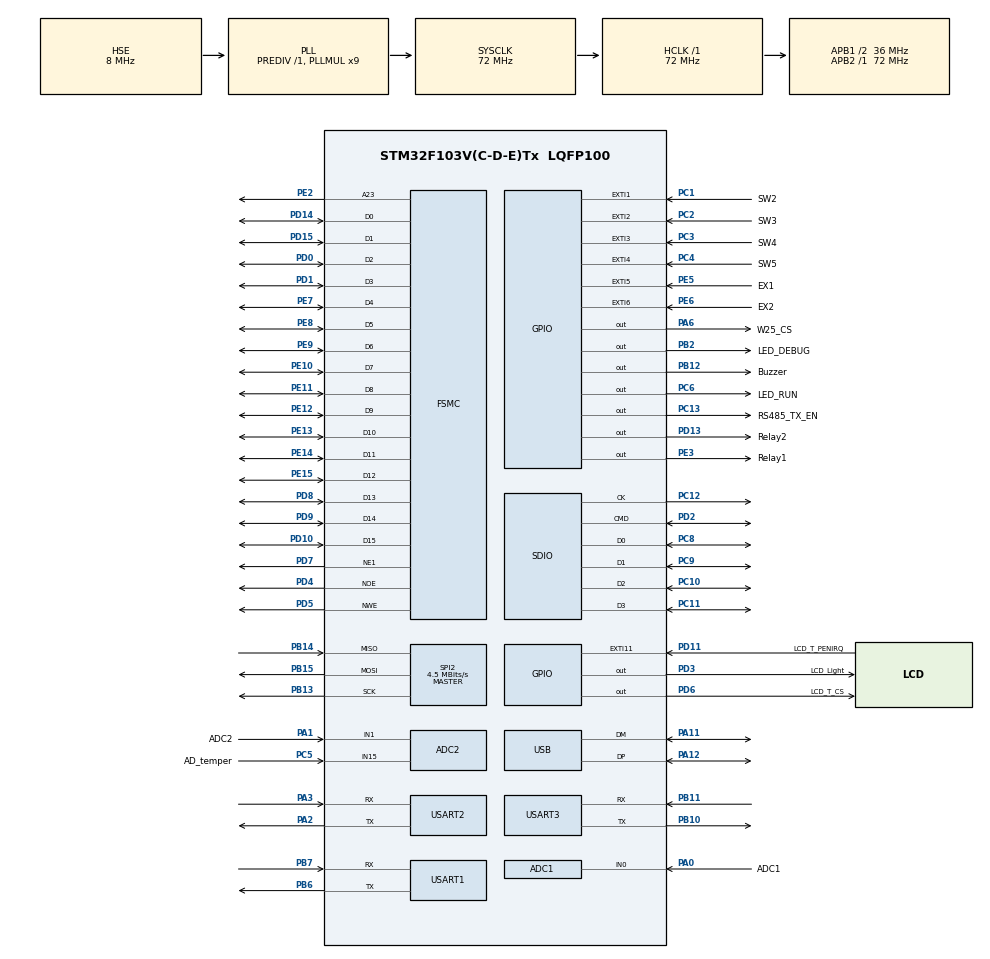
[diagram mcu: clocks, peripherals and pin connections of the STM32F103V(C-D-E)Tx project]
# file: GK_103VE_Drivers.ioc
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ADC1.Channel-0\#ChannelRegularConversion=ADC_CHANNEL_0
ADC1.ContinuousConvMode=DISABLE
ADC1.ExternalTrigConv=ADC_EXTERNALTRIGCONV_T3_TRGO
ADC1.NbrOfConversion=1
ADC1.NbrOfConversionFlag=1
ADC1.Rank-0\#ChannelRegularConversion=1
ADC1.SamplingTime-0\#ChannelRegularConversion=ADC_SAMPLETIME_1CYCLE_5
ADC1.master=1
ADC2.Channel-1\#ChannelRegularConversion=ADC_CHANNEL_1
ADC2.Channel-4\#ChannelRegularConversion=ADC_CHANNEL_15
ADC2.DiscontinuousConvMode=ENABLE
ADC2.NbrOfConversion=2
ADC2.NbrOfConversionFlag=1
ADC2.Rank-1\#ChannelRegularConversion=1
ADC2.Rank-4\#ChannelRegularConversion=2
ADC2.SamplingTime-1\#ChannelRegularConversion=ADC_SAMPLETIME_1CYCLE_5
ADC2.SamplingTime-4\#ChannelRegularConversion=ADC_SAMPLETIME_1CYCLE_5
Dma.ADC1.7.Direction=DMA_PERIPH_TO_MEMORY
Dma.ADC1.7.Instance=DMA1_Channel1
Dma.ADC1.7.MemDataAlignment=DMA_MDATAALIGN_HALFWORD
Dma.ADC1.7.MemInc=DMA_MINC_ENABLE
Dma.ADC1.7.Mode=DMA_CIRCULAR
Dma.ADC1.7.PeriphDataAlignment=DMA_PDATAALIGN_HALFWORD
Dma.ADC1.7.PeriphInc=DMA_PINC_DISABLE
Dma.ADC1.7.Priority=DMA_PRIORITY_LOW
Dma.Request0=USART1_RX
Dma.Request1=USART1_TX
Dma.Request2=SDIO
Dma.Request3=USART3_RX
Dma.Request4=USART3_TX
Dma.Request5=USART2_RX
Dma.Request6=USART2_TX
Dma.Request7=ADC1
Dma.SDIO.2.Direction=DMA_PERIPH_TO_MEMORY
Dma.SDIO.2.Instance=DMA2_Channel4
Dma.SDIO.2.MemDataAlignment=DMA_MDATAALIGN_WORD
Dma.SDIO.2.MemInc=DMA_MINC_ENABLE
Dma.SDIO.2.Mode=DMA_NORMAL
Dma.SDIO.2.PeriphDataAlignment=DMA_PDATAALIGN_WORD
Dma.SDIO.2.PeriphInc=DMA_PINC_DISABLE
Dma.SDIO.2.Priority=DMA_PRIORITY_LOW
Dma.USART1_RX.0.Direction=DMA_PERIPH_TO_MEMORY
Dma.USART1_RX.0.Instance=DMA1_Channel5
Dma.USART1_RX.0.MemDataAlignment=DMA_MDATAALIGN_BYTE
Dma.USART1_RX.0.MemInc=DMA_MINC_ENABLE
Dma.USART1_RX.0.Mode=DMA_NORMAL
Dma.USART1_RX.0.PeriphDataAlignment=DMA_PDATAALIGN_BYTE
Dma.USART1_RX.0.PeriphInc=DMA_PINC_DISABLE
Dma.USART1_RX.0.Priority=DMA_PRIORITY_LOW
Dma.USART1_TX.1.Direction=DMA_MEMORY_TO_PERIPH
Dma.USART1_TX.1.Instance=DMA1_Channel4
Dma.USART1_TX.1.MemDataAlignment=DMA_MDATAALIGN_BYTE
Dma.USART1_TX.1.MemInc=DMA_MINC_ENABLE
Dma.USART1_TX.1.Mode=DMA_NORMAL
Dma.USART1_TX.1.PeriphDataAlignment=DMA_PDATAALIGN_BYTE
Dma.USART1_TX.1.PeriphInc=DMA_PINC_DISABLE
Dma.USART1_TX.1.Priority=DMA_PRIORITY_LOW
Dma.USART2_RX.5.Direction=DMA_PERIPH_TO_MEMORY
Dma.USART2_RX.5.Instance=DMA1_Channel6
Dma.USART2_RX.5.MemDataAlignment=DMA_MDATAALIGN_BYTE
Dma.USART2_RX.5.MemInc=DMA_MINC_ENABLE
Dma.USART2_RX.5.Mode=DMA_NORMAL
Dma.USART2_RX.5.PeriphDataAlignment=DMA_PDATAALIGN_BYTE
Dma.USART2_RX.5.PeriphInc=DMA_PINC_DISABLE
Dma.USART2_RX.5.Priority=DMA_PRIORITY_LOW
Dma.USART2_TX.6.Direction=DMA_MEMORY_TO_PERIPH
Dma.USART2_TX.6.Instance=DMA1_Channel7
Dma.USART2_TX.6.MemDataAlignment=DMA_MDATAALIGN_BYTE
Dma.USART2_TX.6.MemInc=DMA_MINC_ENABLE
Dma.USART2_TX.6.Mode=DMA_NORMAL
Dma.USART2_TX.6.PeriphDataAlignment=DMA_PDATAALIGN_BYTE
Dma.USART2_TX.6.PeriphInc=DMA_PINC_DISABLE
Dma.USART2_TX.6.Priority=DMA_PRIORITY_LOW
Dma.USART3_RX.3.Direction=DMA_PERIPH_TO_MEMORY
Dma.USART3_RX.3.Instance=DMA1_Channel3
Dma.USART3_RX.3.MemDataAlignment=DMA_MDATAALIGN_BYTE
Dma.USART3_RX.3.MemInc=DMA_MINC_ENABLE
Dma.USART3_RX.3.Mode=DMA_NORMAL
Dma.USART3_RX.3.PeriphDataAlignment=DMA_PDATAALIGN_BYTE
Dma.USART3_RX.3.PeriphInc=DMA_PINC_DISABLE
Dma.USART3_RX.3.Priority=DMA_PRIORITY_LOW
Dma.USART3_TX.4.Direction=DMA_MEMORY_TO_PERIPH
Dma.USART3_TX.4.Instance=DMA1_Channel2
Dma.USART3_TX.4.MemDataAlignment=DMA_MDATAALIGN_BYTE
Dma.USART3_TX.4.MemInc=DMA_MINC_ENABLE
Dma.USART3_TX.4.Mode=DMA_NORMAL
Dma.USART3_TX.4.PeriphDataAlignment=DMA_PDATAALIGN_BYTE
Dma.USART3_TX.4.PeriphInc=DMA_PINC_DISABLE
Dma.USART3_TX.4.Priority=DMA_PRIORITY_LOW
FATFS._CODE_PAGE=437
FATFS._USE_LABEL=1
FATFS._USE_LFN=2
FREERTOS.Queues01=UART_Receiver_Msg,5,void *,0,Dynamic,NULL,NULL
FREERTOS.Tasks01=WS_FreeTh_Borad,2,3072,WS_FreeThread_Borad,As weak,NULL,Dynamic,NULL,NULL;WS_FreeTh_WSOS,1,512,WS_FreeThread_WSOS,As weak,NULL,Dynamic,NULL,NULL;WS_FreeTh_UR,3,256,WS_FreeThread_UART_Receiver,As weak,NULL,Dynamic,NULL,NULL;WS_FreeTask_use,-3,512,WS_FreeTask_userTask_Fun,As weak,NULL,Dynamic,NULL,NULL
FREERTOS.configMINIMAL_STACK_SIZE=64
FREERTOS.configTOTAL_HEAP_SIZE=20480
FSMC.AddressSetupTime1=0
FSMC.BusTurnAroundDuration1=0
FSMC.DataSetupTime1=1
Mcu.Family=STM32F1
Mcu.Name=STM32F103V(C-D-E)Tx
Mcu.Package=LQFP100
NVIC.ADC1_2_IRQn=true\:5\:0\:false\:false\:true\:true\:true\:true
NVIC.DMA1_Channel1_IRQn=true\:5\:0\:false\:false\:true\:true\:false\:true
NVIC.DMA1_Channel2_IRQn=true\:5\:0\:false\:false\:true\:true\:false\:true
NVIC.DMA1_Channel3_IRQn=true\:5\:0\:false\:false\:true\:true\:false\:true
NVIC.DMA1_Channel4_IRQn=true\:5\:0\:false\:false\:true\:true\:false\:true
NVIC.DMA1_Channel5_IRQn=true\:5\:0\:false\:false\:true\:true\:false\:true
NVIC.DMA1_Channel6_IRQn=true\:5\:0\:false\:false\:true\:true\:false\:true
NVIC.DMA1_Channel7_IRQn=true\:5\:0\:false\:false\:true\:true\:false\:true
NVIC.DMA2_Channel4_5_IRQn=true\:5\:0\:true\:false\:true\:false\:false\:true
NVIC.EXTI15_10_IRQn=true\:5\:0\:false\:false\:true\:true\:true\:true
NVIC.EXTI1_IRQn=true\:5\:0\:true\:false\:true\:false\:true\:true
NVIC.EXTI2_IRQn=true\:5\:0\:true\:false\:true\:false\:true\:true
NVIC.EXTI3_IRQn=true\:5\:0\:true\:false\:true\:false\:true\:true
NVIC.EXTI4_IRQn=true\:5\:0\:true\:false\:true\:false\:true\:true
NVIC.EXTI9_5_IRQn=true\:5\:0\:false\:false\:true\:true\:true\:true
NVIC.PriorityGroup=NVIC_PRIORITYGROUP_4
NVIC.RTC_IRQn=true\:5\:0\:false\:false\:true\:true\:true\:true
NVIC.SDIO_IRQn=true\:5\:0\:false\:false\:true\:true\:true\:true
NVIC.TIM3_IRQn=true\:8\:0\:true\:false\:true\:true\:true\:true
NVIC.TIM5_IRQn=true\:5\:0\:true\:false\:true\:false\:true\:true
NVIC.TIM7_IRQn=true\:5\:0\:false\:false\:true\:true\:true\:true
NVIC.TIM8_UP_IRQn=true\:15\:0\:false\:false\:true\:false\:false\:true
NVIC.TimeBase=TIM8_UP_IRQn
NVIC.TimeBaseIP=TIM8
NVIC.USART1_IRQn=true\:5\:0\:true\:false\:true\:false\:true\:true
NVIC.USART2_IRQn=true\:5\:0\:false\:false\:true\:true\:true\:true
NVIC.USART3_IRQn=true\:5\:0\:false\:false\:true\:true\:true\:true
NVIC.USB_HP_CAN1_TX_IRQn=true\:5\:0\:true\:false\:true\:false\:true\:true
NVIC.USB_LP_CAN1_RX0_IRQn=true\:5\:0\:true\:false\:true\:false\:true\:true
OSC_IN.Mode=HSE-External-Oscillator
OSC_IN.Signal=RCC_OSC_IN
OSC_OUT.Mode=HSE-External-Oscillator
OSC_OUT.Signal=RCC_OSC_OUT
PA0-WKUP.GPIO_Label=ADC1
PA0-WKUP.Signal=ADCx_IN0
PA1.GPIO_Label=ADC2
PA1.Signal=ADCx_IN1
PA11.Mode=Device
PA11.Signal=USB_DM
PA12.Mode=Device
PA12.Signal=USB_DP
PA13.Mode=JTAG_5_pins
PA13.Signal=SYS_JTMS-SWDIO
PA14.Mode=JTAG_5_pins
PA14.Signal=SYS_JTCK-SWCLK
PA15.Mode=JTAG_5_pins
PA15.Signal=SYS_JTDI
PA2.Mode=Asynchronous
PA2.Signal=USART2_TX
PA3.Mode=Asynchronous
PA3.Signal=USART2_RX
PA6.GPIO_Label=W25_CS
PA6.GPIO_Speed=GPIO_SPEED_FREQ_HIGH
PA6.PinState=GPIO_PIN_SET
PA6.Signal=GPIO_Output
PB10.Mode=Asynchronous
PB10.Signal=USART3_TX
PB11.Mode=Asynchronous
PB11.Signal=USART3_RX
PB12.GPIO_Label=Buzzer
PB12.GPIO_ModeDefaultOutputPP=GPIO_MODE_OUTPUT_OD
PB12.PinState=GPIO_PIN_SET
PB12.Signal=GPIO_Output
PB13.Mode=Full_Duplex_Master
PB13.Signal=SPI2_SCK
PB14.Mode=Full_Duplex_Master
PB14.Signal=SPI2_MISO
PB15.Mode=Full_Duplex_Master
PB15.Signal=SPI2_MOSI
PB2.GPIO_Label=LED_DEBUG
PB2.PinState=GPIO_PIN_SET
PB2.Signal=GPIO_Output
PB3.Mode=JTAG_5_pins
PB3.Signal=SYS_JTDO-TRACESWO
PB4.Mode=JTAG_5_pins
PB4.Signal=SYS_NJTRST
PB6.Mode=Asynchronous
PB6.Signal=USART1_TX
PB7.Mode=Asynchronous
PB7.Signal=USART1_RX
PC1.GPIO_Label=SW2
PC1.GPIO_ModeDefaultEXTI=GPIO_MODE_IT_RISING_FALLING
PC1.GPIO_PuPd=GPIO_PULLUP
PC1.Signal=GPXTI1
PC10.Mode=SD_4_bits_Wide_bus
PC10.Signal=SDIO_D2
PC11.Mode=SD_4_bits_Wide_bus
PC11.Signal=SDIO_D3
PC12.Mode=SD_4_bits_Wide_bus
PC12.Signal=SDIO_CK
PC13-TAMPER-RTC.GPIO_Label=RS485_TX_EN
PC13-TAMPER-RTC.GPIO_Speed=GPIO_SPEED_FREQ_HIGH
PC13-TAMPER-RTC.PinState=GPIO_PIN_RESET
PC13-TAMPER-RTC.Signal=GPIO_Output
PC14-OSC32_IN.Mode=LSE-External-Oscillator
PC14-OSC32_IN.Signal=RCC_OSC32_IN
PC15-OSC32_OUT.Mode=LSE-External-Oscillator
PC15-OSC32_OUT.Signal=RCC_OSC32_OUT
PC2.GPIO_Label=SW3
PC2.GPIO_ModeDefaultEXTI=GPIO_MODE_IT_RISING_FALLING
PC2.GPIO_PuPd=GPIO_PULLUP
PC2.Signal=GPXTI2
PC3.GPIO_Label=SW4
PC3.GPIO_ModeDefaultEXTI=GPIO_MODE_IT_RISING_FALLING
PC3.GPIO_PuPd=GPIO_PULLUP
PC3.Signal=GPXTI3
PC4.GPIO_Label=SW5
PC4.GPIO_ModeDefaultEXTI=GPIO_MODE_IT_RISING_FALLING
PC4.GPIO_PuPd=GPIO_PULLUP
PC4.Signal=GPXTI4
PC5.GPIO_Label=AD_temper
PC5.Signal=ADCx_IN15
PC6.GPIO_Label=LED_RUN
PC6.PinState=GPIO_PIN_SET
PC6.Signal=GPIO_Output
PC8.Mode=SD_4_bits_Wide_bus
PC8.Signal=SDIO_D0
PC9.Mode=SD_4_bits_Wide_bus
PC9.Signal=SDIO_D1
PD0.Mode=16b-d1
PD0.Signal=FSMC_D2
PD1.Mode=16b-d1
PD1.Signal=FSMC_D3
PD10.Mode=16b-d1
PD10.Signal=FSMC_D15
PD11.GPIO_Label=LCD_T_PENIRQ
PD11.GPIO_ModeDefaultEXTI=GPIO_MODE_IT_FALLING
PD11.GPIO_PuPd=GPIO_PULLUP
PD11.Signal=GPXTI11
PD13.GPIO_Label=Relay2
PD13.GPIO_ModeDefaultOutputPP=GPIO_MODE_OUTPUT_OD
PD13.GPIO_PuPd=GPIO_NOPULL
PD13.GPIO_Speed=GPIO_SPEED_FREQ_HIGH
PD13.PinState=GPIO_PIN_RESET
PD13.Signal=GPIO_Output
PD14.Mode=16b-d1
PD14.Signal=FSMC_D0
PD15.Mode=16b-d1
PD15.Signal=FSMC_D1
PD2.Mode=SD_4_bits_Wide_bus
PD2.Signal=SDIO_CMD
PD3.GPIO_Label=LCD_Light
PD3.GPIO_Speed=GPIO_SPEED_FREQ_HIGH
PD3.PinState=GPIO_PIN_SET
PD3.Signal=GPIO_Output
PD4.Mode=Lcd1
PD4.Signal=FSMC_NOE
PD5.Mode=Lcd1
PD5.Signal=FSMC_NWE
PD6.GPIO_Label=LCD_T_CS
PD6.GPIO_Speed=GPIO_SPEED_FREQ_HIGH
PD6.PinState=GPIO_PIN_SET
PD6.Signal=GPIO_Output
PD7.Mode=NorPsramChipSelect1_1
PD7.Signal=FSMC_NE1
PD8.Mode=16b-d1
PD8.Signal=FSMC_D13
PD9.Mode=16b-d1
PD9.Signal=FSMC_D14
PE10.Mode=16b-d1
PE10.Signal=FSMC_D7
PE11.Mode=16b-d1
PE11.Signal=FSMC_D8
PE12.Mode=16b-d1
PE12.Signal=FSMC_D9
PE13.Mode=16b-d1
PE13.Signal=FSMC_D10
PE14.Mode=16b-d1
PE14.Signal=FSMC_D11
PE15.Mode=16b-d1
PE15.Signal=FSMC_D12
PE2.Mode=A23_1
PE2.Signal=FSMC_A23
PE3.GPIO_Label=Relay1
PE3.GPIO_ModeDefaultOutputPP=GPIO_MODE_OUTPUT_OD
PE3.GPIO_PuPd=GPIO_NOPULL
PE3.GPIO_Speed=GPIO_SPEED_FREQ_HIGH
PE3.PinState=GPIO_PIN_RESET
PE3.Signal=GPIO_Output
PE5.GPIO_Label=EX1
PE5.GPIO_ModeDefaultEXTI=GPIO_MODE_IT_RISING_FALLING
PE5.GPIO_PuPd=GPIO_NOPULL
PE5.Signal=GPXTI5
PE6.GPIO_Label=EX2
PE6.GPIO_ModeDefaultEXTI=GPIO_MODE_IT_RISING_FALLING
PE6.GPIO_PuPd=GPIO_NOPULL
PE6.Signal=GPXTI6
PE7.Mode=16b-d1
PE7.Signal=FSMC_D4
PE8.Mode=16b-d1
PE8.Signal=FSMC_D5
PE9.Mode=16b-d1
PE9.Signal=FSMC_D6
ProjectManager.HeapSize=0x1000
ProjectManager.StackSize=0x1000
ProjectManager.TargetToolchain=MDK-ARM V5
RCC.ADCPresc=RCC_ADCPCLK2_DIV6
RCC.AHBFreq_Value=72000000
RCC.APB1CLKDivider=RCC_HCLK_DIV2
RCC.APB1Freq_Value=36000000
RCC.APB1TimFreq_Value=72000000
RCC.APB2Freq_Value=72000000
RCC.APB2TimFreq_Value=72000000
RCC.HCLKFreq_Value=72000000
RCC.PLLMUL=RCC_PLL_MUL9
RCC.PLLSourceVirtual=RCC_PLLSOURCE_HSE
RCC.RTCClockSelection=RCC_RTCCLKSOURCE_LSE
RCC.SYSCLKFreq_VALUE=72000000
RCC.SYSCLKSource=RCC_SYSCLKSOURCE_PLLCLK
RCC.USBFreq_Value=48000000
RCC.USBPrescaler=RCC_USBCLKSOURCE_PLL_DIV1_5
RTC.Format=RTC_FORMAT_BIN
RTC.Hours=23
RTC.Minutes=59
RTC.Month=RTC_MONTH_JULY
RTC.Seconds=55
RTC.WeekDay=RTC_WEEKDAY_THURSDAY
RTC.Year=21
SDIO.ClockDiv=5
SDIO.HardwareFlowControl=SDIO_HARDWARE_FLOW_CONTROL_ENABLE
SH.ADCx_IN0.0=ADC1_IN0,IN0
SH.ADCx_IN1.0=ADC2_IN1,IN1
SH.ADCx_IN15.0=ADC2_IN15,IN15
SPI2.BaudRatePrescaler=SPI_BAUDRATEPRESCALER_8
SPI2.CalculateBaudRate=4.5 MBits/s
SPI2.Direction=SPI_DIRECTION_2LINES
SPI2.Mode=SPI_MODE_MASTER
SPI2.VirtualType=VM_MASTER
TIM3.AutoReloadPreload=TIM_AUTORELOAD_PRELOAD_ENABLE
TIM3.Period=10-1
TIM3.Prescaler=8-1
TIM3.TIM_MasterOutputTrigger=TIM_TRGO_UPDATE
TIM3.TIM_MasterSlaveMode=TIM_MASTERSLAVEMODE_DISABLE
TIM5.Period=65535
TIM5.Prescaler=71
TIM7.Period=10000-1
TIM7.Prescaler=71
USART1.VirtualMode=VM_ASYNC
USART2.VirtualMode=VM_ASYNC
USART3.VirtualMode=VM_ASYNC
USB_DEVICE.CLASS_NAME_FS=MSC
USB_DEVICE.MSC_MEDIA_PACKET=4096
USB_DEVICE.USBD_MAX_NUM_CONFIGURATION=1
USB_DEVICE.USBD_MAX_NUM_INTERFACES=1
USB_DEVICE.USBD_MAX_STR_DESC_SIZ=512
USB_DEVICE.VirtualMode=Msc
USB_DEVICE.VirtualModeFS=Msc_FS
VP_FATFS_VS_Generic.Mode=User_defined
VP_FATFS_VS_SDIO.Mode=SDIO
VP_FREERTOS_VS_CMSIS_V1.Mode=CMSIS_V1
VP_RTC_No_RTC_Output.Mode=RTC_OUT_NO
VP_RTC_VS_RTC_Activate.Mode=RTC_Enabled
VP_RTC_VS_RTC_Calendar.Mode=RTC_Calendar
VP_SYS_VS_tim8.Mode=TIM8
VP_TIM3_VS_ClockSourceINT.Mode=Internal
VP_TIM5_VS_ClockSourceINT.Mode=Internal
VP_TIM7_VS_ClockSourceINT.Mode=Enable_Timer
VP_USB_DEVICE_VS_USB_DEVICE_MSC_FS.Mode=MSC_FS
board=custom

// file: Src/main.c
/* USER CODE BEGIN Header */
/**
  ******************************************************************************
  * @file           : main.c
  * @brief          : Main program body
  ******************************************************************************
  * @attention
  *
  * <h2><center>&copy; Copyright (c) 2020 STMicroelectronics.
  * All rights reserved.</center></h2>
  *
  * This software component is licensed by ST under Ultimate Liberty license
  * SLA0044, the "License"; You may not use this file except in compliance with
  * the License. You may obtain a copy of the License at:
  *                             www.st.com/SLA0044
  *
  ******************************************************************************
  */
/* USER CODE END Header */
#include "main.h"
#include "cmsis_os.h"
#include "fatfs.h"
#include "usb_device.h"
#include "usb_device.h"

/* USER CODE BEGIN Includes */

#include "ws_capture.h"

/* USER CODE END Includes */

ADC_HandleTypeDef hadc1;
ADC_HandleTypeDef hadc2;
DMA_HandleTypeDef hdma_adc1;

RTC_HandleTypeDef hrtc;

SD_HandleTypeDef hsd;
DMA_HandleTypeDef hdma_sdio;

SPI_HandleTypeDef hspi2;

TIM_HandleTypeDef htim3;
TIM_HandleTypeDef htim5;
TIM_HandleTypeDef htim7;

UART_HandleTypeDef huart1;
UART_HandleTypeDef huart2;
UART_HandleTypeDef huart3;
DMA_HandleTypeDef hdma_usart1_rx;
DMA_HandleTypeDef hdma_usart1_tx;
DMA_HandleTypeDef hdma_usart2_rx;
DMA_HandleTypeDef hdma_usart2_tx;
DMA_HandleTypeDef hdma_usart3_rx;
DMA_HandleTypeDef hdma_usart3_tx;

SRAM_HandleTypeDef hsram1;

osThreadId WS_FreeTh_BoradHandle;
osThreadId WS_FreeTh_WSOSHandle;
osThreadId WS_FreeTh_URHandle;
osThreadId WS_FreeTask_useHandle;
osMessageQId UART_Receiver_MsgHandle;

void SystemClock_Config(void);
static void MX_GPIO_Init(void);
static void MX_DMA_Init(void);
static void MX_FSMC_Init(void);
static void MX_SPI2_Init(void);
static void MX_TIM5_Init(void);
static void MX_USART1_UART_Init(void);
static void MX_SDIO_SD_Init(void);
static void MX_USART3_UART_Init(void);
static void MX_USART2_UART_Init(void);
static void MX_RTC_Init(void);
static void MX_ADC1_Init(void);
static void MX_ADC2_Init(void);
static void MX_TIM7_Init(void);
static void MX_TIM3_Init(void);
void WS_FreeThread_Borad(void const * argument);
void WS_FreeThread_WSOS(void const * argument);
void WS_FreeThread_UART_Receiver(void const * argument);
void WS_FreeTask_userTask_Fun(void const * argument);

int main(void)
{

  /* MCU Configuration--------------------------------------------------------*/

  /* Reset of all peripherals, Initializes the Flash interface and the Systick. */
  HAL_Init();

  /* Configure the system clock */
  SystemClock_Config();

  /* Initialize all configured peripherals */
  MX_GPIO_Init();
  MX_DMA_Init();
  MX_FSMC_Init();
  MX_SPI2_Init();
  MX_TIM5_Init();
  MX_USART1_UART_Init();
  MX_SDIO_SD_Init();
  MX_FATFS_Init();
  MX_USART3_UART_Init();
  MX_USART2_UART_Init();
  MX_RTC_Init();
  MX_ADC1_Init();
  MX_ADC2_Init();
  MX_TIM7_Init();
  MX_TIM3_Init();

  /* Create the queue(s) */
  /* definition and creation of UART_Receiver_Msg */
  osMessageQDef(UART_Receiver_Msg, 5, void *);
  UART_Receiver_MsgHandle = osMessageCreate(osMessageQ(UART_Receiver_Msg), NULL);

  /* Create the thread(s) */
  /* definition and creation of WS_FreeTh_Borad */
  osThreadDef(WS_FreeTh_Borad, WS_FreeThread_Borad, osPriorityHigh, 0, 3072);
  WS_FreeTh_BoradHandle = osThreadCreate(osThread(WS_FreeTh_Borad), NULL);

  /* definition and creation of WS_FreeTh_WSOS */
  osThreadDef(WS_FreeTh_WSOS, WS_FreeThread_WSOS, osPriorityAboveNormal, 0, 512);
  WS_FreeTh_WSOSHandle = osThreadCreate(osThread(WS_FreeTh_WSOS), NULL);

  /* definition and creation of WS_FreeTh_UR */
  osThreadDef(WS_FreeTh_UR, WS_FreeThread_UART_Receiver, osPriorityRealtime, 0, 256);
  WS_FreeTh_URHandle = osThreadCreate(osThread(WS_FreeTh_UR), NULL);

  /* definition and creation of WS_FreeTask_use */
  osThreadDef(WS_FreeTask_use, WS_FreeTask_userTask_Fun, osPriorityIdle, 0, 512);
  WS_FreeTask_useHandle = osThreadCreate(osThread(WS_FreeTask_use), NULL);

  /* Start scheduler */
  osKernelStart();

  /* We should never get here as control is now taken by the scheduler */
  /* Infinite loop */
  while (1)
  {

  }
}

void SystemClock_Config(void)
{
  RCC_OscInitTypeDef RCC_OscInitStruct = {0};
  RCC_ClkInitTypeDef RCC_ClkInitStruct = {0};
  RCC_PeriphCLKInitTypeDef PeriphClkInit = {0};

  /** Initializes the RCC Oscillators according to the specified parameters
  * in the RCC_OscInitTypeDef structure.
  */
  RCC_OscInitStruct.OscillatorType = RCC_OSCILLATORTYPE_HSE|RCC_OSCILLATORTYPE_LSE;
  RCC_OscInitStruct.HSEState = RCC_HSE_ON;
  RCC_OscInitStruct.HSEPredivValue = RCC_HSE_PREDIV_DIV1;
  RCC_OscInitStruct.LSEState = RCC_LSE_ON;
  RCC_OscInitStruct.HSIState = RCC_HSI_ON;
  RCC_OscInitStruct.PLL.PLLState = RCC_PLL_ON;
  RCC_OscInitStruct.PLL.PLLSource = RCC_PLLSOURCE_HSE;
  RCC_OscInitStruct.PLL.PLLMUL = RCC_PLL_MUL9;
  if (HAL_RCC_OscConfig(&RCC_OscInitStruct) != HAL_OK)
  {
    Error_Handler();
  }
  /** Initializes the CPU, AHB and APB buses clocks
  */
  RCC_ClkInitStruct.ClockType = RCC_CLOCKTYPE_HCLK|RCC_CLOCKTYPE_SYSCLK
                              |RCC_CLOCKTYPE_PCLK1|RCC_CLOCKTYPE_PCLK2;
  RCC_ClkInitStruct.SYSCLKSource = RCC_SYSCLKSOURCE_PLLCLK;
  RCC_ClkInitStruct.AHBCLKDivider = RCC_SYSCLK_DIV1;
  RCC_ClkInitStruct.APB1CLKDivider = RCC_HCLK_DIV2;
  RCC_ClkInitStruct.APB2CLKDivider = RCC_HCLK_DIV1;

  if (HAL_RCC_ClockConfig(&RCC_ClkInitStruct, FLASH_LATENCY_2) != HAL_OK)
  {
    Error_Handler();
  }
  PeriphClkInit.PeriphClockSelection = RCC_PERIPHCLK_RTC|RCC_PERIPHCLK_ADC
                              |RCC_PERIPHCLK_USB;
  PeriphClkInit.RTCClockSelection = RCC_RTCCLKSOURCE_LSE;
  PeriphClkInit.AdcClockSelection = RCC_ADCPCLK2_DIV6;
  PeriphClkInit.UsbClockSelection = RCC_USBCLKSOURCE_PLL_DIV1_5;
  if (HAL_RCCEx_PeriphCLKConfig(&PeriphClkInit) != HAL_OK)
  {
    Error_Handler();
  }
}

static void MX_ADC1_Init(void)
{

  ADC_ChannelConfTypeDef sConfig = {0};

  /** Common config
  */
  hadc1.Instance = ADC1;
  hadc1.Init.ScanConvMode = ADC_SCAN_DISABLE;
  hadc1.Init.ContinuousConvMode = DISABLE;
  hadc1.Init.DiscontinuousConvMode = DISABLE;
  hadc1.Init.ExternalTrigConv = ADC_EXTERNALTRIGCONV_T3_TRGO;
  hadc1.Init.DataAlign = ADC_DATAALIGN_RIGHT;
  hadc1.Init.NbrOfConversion = 1;
  if (HAL_ADC_Init(&hadc1) != HAL_OK)
  {
    Error_Handler();
  }
  /** Configure Regular Channel
  */
  sConfig.Channel = ADC_CHANNEL_0;
  sConfig.Rank = ADC_REGULAR_RANK_1;
  sConfig.SamplingTime = ADC_SAMPLETIME_1CYCLE_5;
  if (HAL_ADC_ConfigChannel(&hadc1, &sConfig) != HAL_OK)
  {
    Error_Handler();
  }

}

static void MX_ADC2_Init(void)
{

  ADC_ChannelConfTypeDef sConfig = {0};

  /** Common config
  */
  hadc2.Instance = ADC2;
  hadc2.Init.ScanConvMode = ADC_SCAN_ENABLE;
  hadc2.Init.ContinuousConvMode = DISABLE;
  hadc2.Init.DiscontinuousConvMode = ENABLE;
  hadc2.Init.NbrOfDiscConversion = 1;
  hadc2.Init.ExternalTrigConv = ADC_SOFTWARE_START;
  hadc2.Init.DataAlign = ADC_DATAALIGN_RIGHT;
  hadc2.Init.NbrOfConversion = 2;
  if (HAL_ADC_Init(&hadc2) != HAL_OK)
  {
    Error_Handler();
  }
  /** Configure Regular Channel
  */
  sConfig.Channel = ADC_CHANNEL_1;
  sConfig.Rank = ADC_REGULAR_RANK_1;
  sConfig.SamplingTime = ADC_SAMPLETIME_1CYCLE_5;
  if (HAL_ADC_ConfigChannel(&hadc2, &sConfig) != HAL_OK)
  {
    Error_Handler();
  }
  /** Configure Regular Channel
  */
  sConfig.Channel = ADC_CHANNEL_15;
  sConfig.Rank = ADC_REGULAR_RANK_2;
  if (HAL_ADC_ConfigChannel(&hadc2, &sConfig) != HAL_OK)
  {
    Error_Handler();
  }

}

static void MX_RTC_Init(void)
{

  RTC_TimeTypeDef sTime = {0};
  RTC_DateTypeDef DateToUpdate = {0};

  /** Initialize RTC Only
  */
  hrtc.Instance = RTC;
  hrtc.Init.AsynchPrediv = RTC_AUTO_1_SECOND;
  hrtc.Init.OutPut = RTC_OUTPUTSOURCE_NONE;
  if (HAL_RTC_Init(&hrtc) != HAL_OK)
  {
    Error_Handler();
  }

  /* USER CODE BEGIN Check_RTC_BKUP */

	  //  检测是否需要初始化时间
		if(HAL_RTCEx_BKUPRead(&hrtc,RTC_BKP_DR1) ==  0XC3)
		{
			 //  还原日历
			 //  第一步：从备份寄存器还原保存的年月日；
			 hrtc.DateToUpdate.Year = HAL_RTCEx_BKUPRead(&hrtc,RTC_BKP_DR2);
			 hrtc.DateToUpdate.Month = HAL_RTCEx_BKUPRead(&hrtc,RTC_BKP_DR3);
			 hrtc.DateToUpdate.Date = HAL_RTCEx_BKUPRead(&hrtc,RTC_BKP_DR4);
			//   星期必须是计数大于等于24小时才会触发跟新星期，选择备份星期
			 hrtc.DateToUpdate.WeekDay =HAL_RTCEx_BKUPRead(&hrtc,RTC_BKP_DR5);

			 //  第二步：读取时间，函数内部根据掉电后的计数值更新日历
			 HAL_RTC_GetTime(&hrtc , &sTime , RTC_FORMAT_BIN) ;
			 return  ;
		}

  /* USER CODE END Check_RTC_BKUP */

  /** Initialize RTC and set the Time and Date
  */
  sTime.Hours = 23;
  sTime.Minutes = 59;
  sTime.Seconds = 55;

  if (HAL_RTC_SetTime(&hrtc, &sTime, RTC_FORMAT_BIN) != HAL_OK)
  {
    Error_Handler();
  }
  DateToUpdate.WeekDay = RTC_WEEKDAY_THURSDAY;
  DateToUpdate.Month = RTC_MONTH_JULY;
  DateToUpdate.Date = 1;
  DateToUpdate.Year = 21;

  if (HAL_RTC_SetDate(&hrtc, &DateToUpdate, RTC_FORMAT_BIN) != HAL_OK)
  {
    Error_Handler();
  }
  /* USER CODE BEGIN RTC_Init 2 */

	HAL_RTCEx_BKUPWrite(&hrtc,RTC_BKP_DR1,0xc3);//  写入初始化标志

  /* USER CODE END RTC_Init 2 */

}

static void MX_SDIO_SD_Init(void)
{

  hsd.Instance = SDIO;
  hsd.Init.ClockEdge = SDIO_CLOCK_EDGE_RISING;
  hsd.Init.ClockBypass = SDIO_CLOCK_BYPASS_DISABLE;
  hsd.Init.ClockPowerSave = SDIO_CLOCK_POWER_SAVE_DISABLE;
  hsd.Init.BusWide = SDIO_BUS_WIDE_1B;
  hsd.Init.HardwareFlowControl = SDIO_HARDWARE_FLOW_CONTROL_ENABLE;
  hsd.Init.ClockDiv = 5;

}

static void MX_SPI2_Init(void)
{

  /* SPI2 parameter configuration*/
  hspi2.Instance = SPI2;
  hspi2.Init.Mode = SPI_MODE_MASTER;
  hspi2.Init.Direction = SPI_DIRECTION_2LINES;
  hspi2.Init.DataSize = SPI_DATASIZE_8BIT;
  hspi2.Init.CLKPolarity = SPI_POLARITY_LOW;
  hspi2.Init.CLKPhase = SPI_PHASE_1EDGE;
  hspi2.Init.NSS = SPI_NSS_SOFT;
  hspi2.Init.BaudRatePrescaler = SPI_BAUDRATEPRESCALER_8;
  hspi2.Init.FirstBit = SPI_FIRSTBIT_MSB;
  hspi2.Init.TIMode = SPI_TIMODE_DISABLE;
  hspi2.Init.CRCCalculation = SPI_CRCCALCULATION_DISABLE;
  hspi2.Init.CRCPolynomial = 10;
  if (HAL_SPI_Init(&hspi2) != HAL_OK)
  {
    Error_Handler();
  }

}

static void MX_TIM3_Init(void)
{

  TIM_ClockConfigTypeDef sClockSourceConfig = {0};
  TIM_MasterConfigTypeDef sMasterConfig = {0};

  htim3.Instance = TIM3;
  htim3.Init.Prescaler = 8-1;
  htim3.Init.CounterMode = TIM_COUNTERMODE_UP;
  htim3.Init.Period = 10-1;
  htim3.Init.ClockDivision = TIM_CLOCKDIVISION_DIV1;
  htim3.Init.AutoReloadPreload = TIM_AUTORELOAD_PRELOAD_ENABLE;
  if (HAL_TIM_Base_Init(&htim3) != HAL_OK)
  {
    Error_Handler();
  }
  sClockSourceConfig.ClockSource = TIM_CLOCKSOURCE_INTERNAL;
  if (HAL_TIM_ConfigClockSource(&htim3, &sClockSourceConfig) != HAL_OK)
  {
    Error_Handler();
  }
  sMasterConfig.MasterOutputTrigger = TIM_TRGO_UPDATE;
  sMasterConfig.MasterSlaveMode = TIM_MASTERSLAVEMODE_DISABLE;
  if (HAL_TIMEx_MasterConfigSynchronization(&htim3, &sMasterConfig) != HAL_OK)
  {
    Error_Handler();
  }

}

static void MX_TIM5_Init(void)
{

  TIM_ClockConfigTypeDef sClockSourceConfig = {0};
  TIM_MasterConfigTypeDef sMasterConfig = {0};

  htim5.Instance = TIM5;
  htim5.Init.Prescaler = 71;
  htim5.Init.CounterMode = TIM_COUNTERMODE_UP;
  htim5.Init.Period = 65535;
  htim5.Init.ClockDivision = TIM_CLOCKDIVISION_DIV1;
  htim5.Init.AutoReloadPreload = TIM_AUTORELOAD_PRELOAD_DISABLE;
  if (HAL_TIM_Base_Init(&htim5) != HAL_OK)
  {
    Error_Handler();
  }
  sClockSourceConfig.ClockSource = TIM_CLOCKSOURCE_INTERNAL;
  if (HAL_TIM_ConfigClockSource(&htim5, &sClockSourceConfig) != HAL_OK)
  {
    Error_Handler();
  }
  sMasterConfig.MasterOutputTrigger = TIM_TRGO_RESET;
  sMasterConfig.MasterSlaveMode = TIM_MASTERSLAVEMODE_DISABLE;
  if (HAL_TIMEx_MasterConfigSynchronization(&htim5, &sMasterConfig) != HAL_OK)
  {
    Error_Handler();
  }
  /* USER CODE BEGIN TIM5_Init 2 */

		//  通道1，不连接IO，产生软捕获， 计算时间 ，不产生中断
  TIM5->CCMR1 |= 1<<0 ;             //  ch1 输入捕获
	TIM5->CCER  |= 3<<0 ;             //  使能CH1 , 下降沿触发

  /* USER CODE END TIM5_Init 2 */

}

static void MX_TIM7_Init(void)
{

  TIM_MasterConfigTypeDef sMasterConfig = {0};

  htim7.Instance = TIM7;
  htim7.Init.Prescaler = 71;
  htim7.Init.CounterMode = TIM_COUNTERMODE_UP;
  htim7.Init.Period = 10000-1;
  htim7.Init.AutoReloadPreload = TIM_AUTORELOAD_PRELOAD_DISABLE;
  if (HAL_TIM_Base_Init(&htim7) != HAL_OK)
  {
    Error_Handler();
  }
  sMasterConfig.MasterOutputTrigger = TIM_TRGO_RESET;
  sMasterConfig.MasterSlaveMode = TIM_MASTERSLAVEMODE_DISABLE;
  if (HAL_TIMEx_MasterConfigSynchronization(&htim7, &sMasterConfig) != HAL_OK)
  {
    Error_Handler();
  }

}

static void MX_USART1_UART_Init(void)
{

  huart1.Instance = USART1;
  huart1.Init.BaudRate = 115200;
  huart1.Init.WordLength = UART_WORDLENGTH_8B;
  huart1.Init.StopBits = UART_STOPBITS_1;
  huart1.Init.Parity = UART_PARITY_NONE;
  huart1.Init.Mode = UART_MODE_TX_RX;
  huart1.Init.HwFlowCtl = UART_HWCONTROL_NONE;
  huart1.Init.OverSampling = UART_OVERSAMPLING_16;
  if (HAL_UART_Init(&huart1) != HAL_OK)
  {
    Error_Handler();
  }

}

static void MX_USART2_UART_Init(void)
{

  huart2.Instance = USART2;
  huart2.Init.BaudRate = 115200;
  huart2.Init.WordLength = UART_WORDLENGTH_8B;
  huart2.Init.StopBits = UART_STOPBITS_1;
  huart2.Init.Parity = UART_PARITY_NONE;
  huart2.Init.Mode = UART_MODE_TX_RX;
  huart2.Init.HwFlowCtl = UART_HWCONTROL_NONE;
  huart2.Init.OverSampling = UART_OVERSAMPLING_16;
  if (HAL_UART_Init(&huart2) != HAL_OK)
  {
    Error_Handler();
  }

}

static void MX_USART3_UART_Init(void)
{

  huart3.Instance = USART3;
  huart3.Init.BaudRate = 115200;
  huart3.Init.WordLength = UART_WORDLENGTH_8B;
  huart3.Init.StopBits = UART_STOPBITS_1;
  huart3.Init.Parity = UART_PARITY_NONE;
  huart3.Init.Mode = UART_MODE_TX_RX;
  huart3.Init.HwFlowCtl = UART_HWCONTROL_NONE;
  huart3.Init.OverSampling = UART_OVERSAMPLING_16;
  if (HAL_UART_Init(&huart3) != HAL_OK)
  {
    Error_Handler();
  }

}

static void MX_DMA_Init(void)
{

  /* DMA controller clock enable */
  __HAL_RCC_DMA1_CLK_ENABLE();
  __HAL_RCC_DMA2_CLK_ENABLE();

  /* DMA interrupt init */
  /* DMA1_Channel1_IRQn interrupt configuration */
  HAL_NVIC_SetPriority(DMA1_Channel1_IRQn, 5, 0);
  HAL_NVIC_EnableIRQ(DMA1_Channel1_IRQn);
  /* DMA1_Channel2_IRQn interrupt configuration */
  HAL_NVIC_SetPriority(DMA1_Channel2_IRQn, 5, 0);
  HAL_NVIC_EnableIRQ(DMA1_Channel2_IRQn);
  /* DMA1_Channel3_IRQn interrupt configuration */
  HAL_NVIC_SetPriority(DMA1_Channel3_IRQn, 5, 0);
  HAL_NVIC_EnableIRQ(DMA1_Channel3_IRQn);
  /* DMA1_Channel4_IRQn interrupt configuration */
  HAL_NVIC_SetPriority(DMA1_Channel4_IRQn, 5, 0);
  HAL_NVIC_EnableIRQ(DMA1_Channel4_IRQn);
  /* DMA1_Channel5_IRQn interrupt configuration */
  HAL_NVIC_SetPriority(DMA1_Channel5_IRQn, 5, 0);
  HAL_NVIC_EnableIRQ(DMA1_Channel5_IRQn);
  /* DMA1_Channel6_IRQn interrupt configuration */
  HAL_NVIC_SetPriority(DMA1_Channel6_IRQn, 5, 0);
  HAL_NVIC_EnableIRQ(DMA1_Channel6_IRQn);
  /* DMA1_Channel7_IRQn interrupt configuration */
  HAL_NVIC_SetPriority(DMA1_Channel7_IRQn, 5, 0);
  HAL_NVIC_EnableIRQ(DMA1_Channel7_IRQn);
  /* DMA2_Channel4_5_IRQn interrupt configuration */
  HAL_NVIC_SetPriority(DMA2_Channel4_5_IRQn, 5, 0);
  HAL_NVIC_EnableIRQ(DMA2_Channel4_5_IRQn);

}

static void MX_GPIO_Init(void)
{
  GPIO_InitTypeDef GPIO_InitStruct = {0};

  /* GPIO Ports Clock Enable */
  __HAL_RCC_GPIOE_CLK_ENABLE();
  __HAL_RCC_GPIOC_CLK_ENABLE();
  __HAL_RCC_GPIOA_CLK_ENABLE();
  __HAL_RCC_GPIOB_CLK_ENABLE();
  __HAL_RCC_GPIOD_CLK_ENABLE();

  /*Configure GPIO pin Output Level */
  HAL_GPIO_WritePin(Relay1_GPIO_Port, Relay1_Pin, GPIO_PIN_RESET);

  /*Configure GPIO pin Output Level */
  HAL_GPIO_WritePin(RS485_TX_EN_GPIO_Port, RS485_TX_EN_Pin, GPIO_PIN_RESET);

  /*Configure GPIO pin Output Level */
  HAL_GPIO_WritePin(W25_CS_GPIO_Port, W25_CS_Pin, GPIO_PIN_SET);

  /*Configure GPIO pin Output Level */
  HAL_GPIO_WritePin(GPIOB, LED_DEBUG_Pin|Buzzer_Pin, GPIO_PIN_SET);

  /*Configure GPIO pin Output Level */
  HAL_GPIO_WritePin(Relay2_GPIO_Port, Relay2_Pin, GPIO_PIN_RESET);

  /*Configure GPIO pin Output Level */
  HAL_GPIO_WritePin(LED_RUN_GPIO_Port, LED_RUN_Pin, GPIO_PIN_SET);

  /*Configure GPIO pin Output Level */
  HAL_GPIO_WritePin(GPIOD, LCD_Light_Pin|LCD_T_CS_Pin, GPIO_PIN_SET);

  /*Configure GPIO pin : Relay1_Pin */
  GPIO_InitStruct.Pin = Relay1_Pin;
  GPIO_InitStruct.Mode = GPIO_MODE_OUTPUT_OD;
  GPIO_InitStruct.Pull = GPIO_NOPULL;
  GPIO_InitStruct.Speed = GPIO_SPEED_FREQ_HIGH;
  HAL_GPIO_Init(Relay1_GPIO_Port, &GPIO_InitStruct);

  /*Configure GPIO pins : EX1_Pin EX2_Pin */
  GPIO_InitStruct.Pin = EX1_Pin|EX2_Pin;
  GPIO_InitStruct.Mode = GPIO_MODE_IT_RISING_FALLING;
  GPIO_InitStruct.Pull = GPIO_NOPULL;
  HAL_GPIO_Init(GPIOE, &GPIO_InitStruct);

  /*Configure GPIO pin : RS485_TX_EN_Pin */
  GPIO_InitStruct.Pin = RS485_TX_EN_Pin;
  GPIO_InitStruct.Mode = GPIO_MODE_OUTPUT_PP;
  GPIO_InitStruct.Pull = GPIO_NOPULL;
  GPIO_InitStruct.Speed = GPIO_SPEED_FREQ_HIGH;
  HAL_GPIO_Init(RS485_TX_EN_GPIO_Port, &GPIO_InitStruct);

  /*Configure GPIO pins : SW2_Pin SW3_Pin SW4_Pin SW5_Pin */
  GPIO_InitStruct.Pin = SW2_Pin|SW3_Pin|SW4_Pin|SW5_Pin;
  GPIO_InitStruct.Mode = GPIO_MODE_IT_RISING_FALLING;
  GPIO_InitStruct.Pull = GPIO_PULLUP;
  HAL_GPIO_Init(GPIOC, &GPIO_InitStruct);

  /*Configure GPIO pin : W25_CS_Pin */
  GPIO_InitStruct.Pin = W25_CS_Pin;
  GPIO_InitStruct.Mode = GPIO_MODE_OUTPUT_PP;
  GPIO_InitStruct.Pull = GPIO_NOPULL;
  GPIO_InitStruct.Speed = GPIO_SPEED_FREQ_HIGH;
  HAL_GPIO_Init(W25_CS_GPIO_Port, &GPIO_InitStruct);

  /*Configure GPIO pin : LED_DEBUG_Pin */
  GPIO_InitStruct.Pin = LED_DEBUG_Pin;
  GPIO_InitStruct.Mode = GPIO_MODE_OUTPUT_PP;
  GPIO_InitStruct.Pull = GPIO_NOPULL;
  GPIO_InitStruct.Speed = GPIO_SPEED_FREQ_LOW;
  HAL_GPIO_Init(LED_DEBUG_GPIO_Port, &GPIO_InitStruct);

  /*Configure GPIO pin : Buzzer_Pin */
  GPIO_InitStruct.Pin = Buzzer_Pin;
  GPIO_InitStruct.Mode = GPIO_MODE_OUTPUT_OD;
  GPIO_InitStruct.Pull = GPIO_NOPULL;
  GPIO_InitStruct.Speed = GPIO_SPEED_FREQ_LOW;
  HAL_GPIO_Init(Buzzer_GPIO_Port, &GPIO_InitStruct);

  /*Configure GPIO pin : LCD_T_PENIRQ_Pin */
  GPIO_InitStruct.Pin = LCD_T_PENIRQ_Pin;
  GPIO_InitStruct.Mode = GPIO_MODE_IT_FALLING;
  GPIO_InitStruct.Pull = GPIO_PULLUP;
  HAL_GPIO_Init(LCD_T_PENIRQ_GPIO_Port, &GPIO_InitStruct);

  /*Configure GPIO pin : Relay2_Pin */
  GPIO_InitStruct.Pin = Relay2_Pin;
  GPIO_InitStruct.Mode = GPIO_MODE_OUTPUT_OD;
  GPIO_InitStruct.Pull = GPIO_NOPULL;
  GPIO_InitStruct.Speed = GPIO_SPEED_FREQ_HIGH;
  HAL_GPIO_Init(Relay2_GPIO_Port, &GPIO_InitStruct);

  /*Configure GPIO pin : LED_RUN_Pin */
  GPIO_InitStruct.Pin = LED_RUN_Pin;
  GPIO_InitStruct.Mode = GPIO_MODE_OUTPUT_PP;
  GPIO_InitStruct.Pull = GPIO_NOPULL;
  GPIO_InitStruct.Speed = GPIO_SPEED_FREQ_LOW;
  HAL_GPIO_Init(LED_RUN_GPIO_Port, &GPIO_InitStruct);

  /*Configure GPIO pins : LCD_Light_Pin LCD_T_CS_Pin */
  GPIO_InitStruct.Pin = LCD_Light_Pin|LCD_T_CS_Pin;
  GPIO_InitStruct.Mode = GPIO_MODE_OUTPUT_PP;
  GPIO_InitStruct.Pull = GPIO_NOPULL;
  GPIO_InitStruct.Speed = GPIO_SPEED_FREQ_HIGH;
  HAL_GPIO_Init(GPIOD, &GPIO_InitStruct);

  /* EXTI interrupt init*/
  HAL_NVIC_SetPriority(EXTI1_IRQn, 5, 0);
  HAL_NVIC_EnableIRQ(EXTI1_IRQn);

  HAL_NVIC_SetPriority(EXTI2_IRQn, 5, 0);
  HAL_NVIC_EnableIRQ(EXTI2_IRQn);

  HAL_NVIC_SetPriority(EXTI3_IRQn, 5, 0);
  HAL_NVIC_EnableIRQ(EXTI3_IRQn);

  HAL_NVIC_SetPriority(EXTI4_IRQn, 5, 0);
  HAL_NVIC_EnableIRQ(EXTI4_IRQn);

  HAL_NVIC_SetPriority(EXTI9_5_IRQn, 5, 0);
  HAL_NVIC_EnableIRQ(EXTI9_5_IRQn);

  HAL_NVIC_SetPriority(EXTI15_10_IRQn, 5, 0);
  HAL_NVIC_EnableIRQ(EXTI15_10_IRQn);

}

/* FSMC initialization function */
static void MX_FSMC_Init(void)
{

  FSMC_NORSRAM_TimingTypeDef Timing = {0};

  /** Perform the SRAM1 memory initialization sequence
  */
  hsram1.Instance = FSMC_NORSRAM_DEVICE;
  hsram1.Extended = FSMC_NORSRAM_EXTENDED_DEVICE;
  /* hsram1.Init */
  hsram1.Init.NSBank = FSMC_NORSRAM_BANK1;
  hsram1.Init.DataAddressMux = FSMC_DATA_ADDRESS_MUX_DISABLE;
  hsram1.Init.MemoryType = FSMC_MEMORY_TYPE_SRAM;
  hsram1.Init.MemoryDataWidth = FSMC_NORSRAM_MEM_BUS_WIDTH_16;
  hsram1.Init.BurstAccessMode = FSMC_BURST_ACCESS_MODE_DISABLE;
  hsram1.Init.WaitSignalPolarity = FSMC_WAIT_SIGNAL_POLARITY_LOW;
  hsram1.Init.WrapMode = FSMC_WRAP_MODE_DISABLE;
  hsram1.Init.WaitSignalActive = FSMC_WAIT_TIMING_BEFORE_WS;
  hsram1.Init.WriteOperation = FSMC_WRITE_OPERATION_ENABLE;
  hsram1.Init.WaitSignal = FSMC_WAIT_SIGNAL_DISABLE;
  hsram1.Init.ExtendedMode = FSMC_EXTENDED_MODE_DISABLE;
  hsram1.Init.AsynchronousWait = FSMC_ASYNCHRONOUS_WAIT_DISABLE;
  hsram1.Init.WriteBurst = FSMC_WRITE_BURST_DISABLE;
  /* Timing */
  Timing.AddressSetupTime = 0;
  Timing.AddressHoldTime = 15;
  Timing.DataSetupTime = 1;
  Timing.BusTurnAroundDuration = 0;
  Timing.CLKDivision = 16;
  Timing.DataLatency = 17;
  Timing.AccessMode = FSMC_ACCESS_MODE_A;
  /* ExtTiming */

  if (HAL_SRAM_Init(&hsram1, &Timing, NULL) != HAL_OK)
  {
    Error_Handler( );
  }

  /** Disconnect NADV
  */

  __HAL_AFIO_FSMCNADV_DISCONNECTED();

}

__weak void WS_FreeThread_Borad(void const * argument)
{
  /* init code for USB_DEVICE */
  MX_USB_DEVICE_Init();
  /* USER CODE BEGIN 5 */
  /* Infinite loop */
  for(;;)
  {
    osDelay(10);
  }
  /* USER CODE END 5 */
}

__weak void WS_FreeThread_WSOS(void const * argument)
{
  /* USER CODE BEGIN WS_FreeThread_WSOS */
  /* Infinite loop */
  for(;;)
  {
    osDelay(10);
  }
  /* USER CODE END WS_FreeThread_WSOS */
}

__weak void WS_FreeThread_UART_Receiver(void const * argument)
{
  /* USER CODE BEGIN WS_FreeThread_UART_Receiver */
  /* Infinite loop */
  for(;;)
  {
    osDelay(10);
  }
  /* USER CODE END WS_FreeThread_UART_Receiver */
}

__weak void WS_FreeTask_userTask_Fun(void const * argument)
{
  for(;;)
  {
    osDelay(1);
  }
}

void HAL_TIM_PeriodElapsedCallback(TIM_HandleTypeDef *htim)
{
  if (htim->Instance == TIM8) {
    HAL_IncTick();
  }
  /* USER CODE BEGIN Callback 1 */
  if(htim->Instance == TIM5)
	{
	   ccpIntrruptFun();
	}
  if(htim->Instance == TIM7)
    {
	     WS_Timer_10MS_Callback();
    }
  if(htim->Instance == TIM3)
	{
//		 WS_TIM3_IT_Callback();
	}
  /* USER CODE END Callback 1 */
}

void Error_Handler(void)
{
}

/************************ (C) COPYRIGHT STMicroelectronics *****END OF FILE****/
